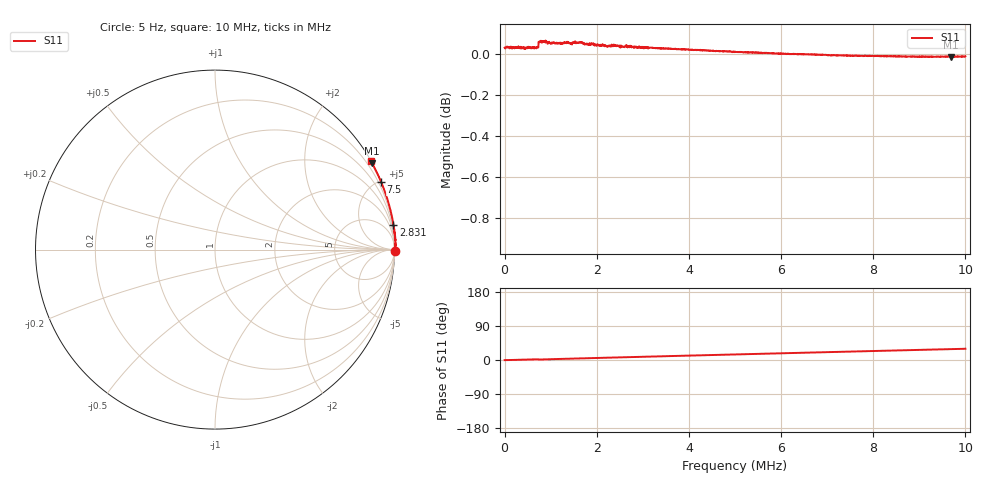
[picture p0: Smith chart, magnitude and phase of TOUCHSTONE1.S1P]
!Keysight Technologies,E5061B,MY49912438,B.06.04
!Date: Thu Nov 06 17:20:49 2025
!Data & Calibration Information:
!Freq	S22:SOLT2(ON)
# Hz S MA R 50
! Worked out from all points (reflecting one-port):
!   1601 points, 5 Hz to 10 MHz, reference 50 ohm
!   lowest |S11| = 0.0 dB at 9.694 MHz (marker M1)
!   phase of S11 starts at -0 deg and turns +30 deg over the sweep
!   S11 on the Smith chart (normalised r, x): 5 Hz: open; 2.831 MHz: -0, +14; 7.5 MHz: 0.02, +5.10; 10 MHz: 0.01, +3.78
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5  1.003 -0.4
37504.98  1.004 -0.3
93754.95  1.004 -0.1
681254.7  1.003 1.8
787504.6  1.007 1.3
956254.5  1.006 2.0
1250004  1.006 2.9
1368754  1.006 3.3
1506254  1.006 3.8
1643754  1.006 4.2
1918754  1.006 5.1
2143754  1.005 5.8
2262504  1.004 6.2
2406254  1.004 6.6
2500004  1.004 6.9
2831254  1.004 8.0
3750003  1.003 10.8
4343753  1.002 12.6
5000002  1.001 14.7
5675002  1.001 16.7
6250002  0.9999 18.4
6931252  0.9994 20.5
7500001  0.9988 22.2
8093751  0.9989 24.0
8750001  0.9985 25.9
9693750  0.9983 28.7
9956250  0.9984 29.5
1e7  0.9986 29.6
